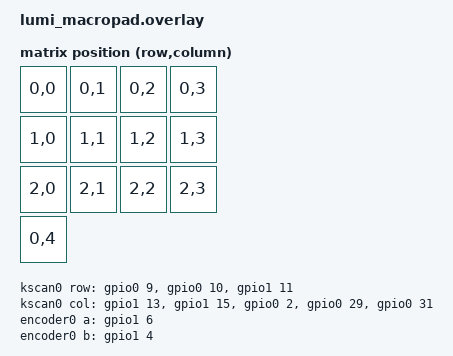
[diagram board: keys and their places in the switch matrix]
#include <zephyr/dt-bindings/gpio/gpio.h>
#include <dt-bindings/led/led.h>
#include <dt-bindings/zmk/matrix_transform.h>
#include "lumi_macropad-layouts.dtsi"

/ {
    kscan0: kscan0 {
        compatible = "zmk,kscan-gpio-matrix";
        diode-direction = "col2row";
        wakeup-source;

        // RYNOR ONE handwired 3x5 matrix:
        // ROW0 P0.09, ROW1 P0.10, ROW2 P1.11
        row-gpios
            = <&gpio0 9  (GPIO_ACTIVE_HIGH | GPIO_PULL_DOWN)>
            , <&gpio0 10 (GPIO_ACTIVE_HIGH | GPIO_PULL_DOWN)>
            , <&gpio1 11 (GPIO_ACTIVE_HIGH | GPIO_PULL_DOWN)>
            ;

        // COL0 P1.13, COL1 P1.15, COL2 P0.02, COL3 P0.29, COL4 P0.31
        col-gpios
            = <&gpio1 13 GPIO_ACTIVE_HIGH>
            , <&gpio1 15 GPIO_ACTIVE_HIGH>
            , <&gpio0 2  GPIO_ACTIVE_HIGH>
            , <&gpio0 29 GPIO_ACTIVE_HIGH>
            , <&gpio0 31 GPIO_ACTIVE_HIGH>
            ;
    };

    default_transform: keymap_transform0 {
        compatible = "zmk,matrix-transform";
        rows = <3>;
        columns = <5>;

        // Physical layout:
        // ROW0: K1 K2 K3 K4 EC11
        // ROW1: K5 K6 K7 K8
        // ROW2: K9 K10 K11 K12
        //
        // Keep key positions 0..11 as K1..K12 so existing keymaps,
        // combos, Studio mappings and LumiPad behavior stay unchanged.
        // Position 12 remains the EC11 push button.
        map = <
            RC(0,0) RC(0,1) RC(0,2) RC(0,3)
            RC(1,0) RC(1,1) RC(1,2) RC(1,3)
            RC(2,0) RC(2,1) RC(2,2) RC(2,3)
            RC(0,4)
        >;
    };

    encoder0: encoder0 {
        compatible = "alps,ec11";
        /* Physical EC11 A/B are wired opposite to the original mapping.
         * Swap the firmware phases so clockwise/counter-clockwise actions
         * match the expected direction without rewiring the encoder.
         */
        a-gpios = <&gpio1 6 (GPIO_ACTIVE_HIGH | GPIO_PULL_UP)>;
        b-gpios = <&gpio1 4 (GPIO_ACTIVE_HIGH | GPIO_PULL_UP)>;
        steps = <80>;
        status = "okay";
    };

    /* Dedicated System OFF wake inputs.
     *
     * Do not resume the complete matrix kscan while entering soft-off. Using
     * direct row level-sense inputs avoids scan/debounce latency and makes one
     * key press wake the nRF52840 immediately. For this col2row matrix all five
     * columns are driven HIGH while sleeping, and any row going HIGH wakes.
     *
     * EC11 A/B are passive contacts to GND, so both phases use direct
     * active-low level sensing. A single encoder transition can therefore wake
     * without waiting for the normal EC11 driver to start.
     */
    deep_wake_keys: deep_wake_keys {
        compatible = "gpio-keys";

        deep_wake_row0_key: deep_wake_row0_key {
            gpios = <&gpio0 9 (GPIO_ACTIVE_HIGH | GPIO_PULL_DOWN)>;
        };

        deep_wake_row1_key: deep_wake_row1_key {
            gpios = <&gpio0 10 (GPIO_ACTIVE_HIGH | GPIO_PULL_DOWN)>;
        };

        deep_wake_row2_key: deep_wake_row2_key {
            gpios = <&gpio1 11 (GPIO_ACTIVE_HIGH | GPIO_PULL_DOWN)>;
        };

        encoder_wake_a_key: encoder_wake_a_key {
            gpios = <&gpio1 6 (GPIO_ACTIVE_LOW | GPIO_PULL_UP)>;
        };

        encoder_wake_b_key: encoder_wake_b_key {
            gpios = <&gpio1 4 (GPIO_ACTIVE_LOW | GPIO_PULL_UP)>;
        };
    };

    deep_wake_row0: deep_wake_row0 {
        compatible = "zmk,gpio-key-wakeup-trigger";
        trigger = <&deep_wake_row0_key>;
        wakeup-source;
        extra-gpios =
            <&gpio1 13 GPIO_ACTIVE_HIGH>,
            <&gpio1 15 GPIO_ACTIVE_HIGH>,
            <&gpio0 2 GPIO_ACTIVE_HIGH>,
            <&gpio0 29 GPIO_ACTIVE_HIGH>,
            <&gpio0 31 GPIO_ACTIVE_HIGH>;
    };

    deep_wake_row1: deep_wake_row1 {
        compatible = "zmk,gpio-key-wakeup-trigger";
        trigger = <&deep_wake_row1_key>;
        wakeup-source;
        extra-gpios =
            <&gpio1 13 GPIO_ACTIVE_HIGH>,
            <&gpio1 15 GPIO_ACTIVE_HIGH>,
            <&gpio0 2 GPIO_ACTIVE_HIGH>,
            <&gpio0 29 GPIO_ACTIVE_HIGH>,
            <&gpio0 31 GPIO_ACTIVE_HIGH>;
    };

    deep_wake_row2: deep_wake_row2 {
        compatible = "zmk,gpio-key-wakeup-trigger";
        trigger = <&deep_wake_row2_key>;
        wakeup-source;
        extra-gpios =
            <&gpio1 13 GPIO_ACTIVE_HIGH>,
            <&gpio1 15 GPIO_ACTIVE_HIGH>,
            <&gpio0 2 GPIO_ACTIVE_HIGH>,
            <&gpio0 29 GPIO_ACTIVE_HIGH>,
            <&gpio0 31 GPIO_ACTIVE_HIGH>;
    };

    encoder_wake_a: encoder_wake_a {
        compatible = "zmk,gpio-key-wakeup-trigger";
        trigger = <&encoder_wake_a_key>;
        wakeup-source;
    };

    encoder_wake_b: encoder_wake_b {
        compatible = "zmk,gpio-key-wakeup-trigger";
        trigger = <&encoder_wake_b_key>;
        wakeup-source;
    };

    soft_off_wakers: soft_off_wakers {
        compatible = "zmk,soft-off-wakeup-sources";
        wakeup-sources =
            <&deep_wake_row0
             &deep_wake_row1
             &deep_wake_row2
             &encoder_wake_a
             &encoder_wake_b>;
    };

    sensors: sensors {
        compatible = "zmk,keymap-sensors";
        sensors = <&encoder0>;
        triggers-per-rotation = <20>;
    };

    chosen {
        zmk,kscan = &kscan0;
        zmk,physical-layout = &lumi_macropad_layout;
        zephyr,display = &lumi_tft;
        zmk,underglow = &led_strip;
    };
};

&pinctrl {
    lumi_tft_spi_default: lumi_tft_spi_default {
        group1 {
            psels = <NRF_PSEL(SPIM_SCK, 0, 20)>,
                    <NRF_PSEL(SPIM_MOSI, 0, 17)>;
        };
    };

    lumi_tft_spi_sleep: lumi_tft_spi_sleep {
        group1 {
            psels = <NRF_PSEL(SPIM_SCK, 0, 20)>,
                    <NRF_PSEL(SPIM_MOSI, 0, 17)>;
            low-power-enable;
        };
    };

    /* WS2812 transport uses the dedicated nRF I2S peripheral instead of
     * consuming another SPIM instance. Only SDOUT (P0.06 / D1) is wired to
     * the LED chain; SCK/LRCK are routed to otherwise-unused GPIOs.
     */
    lumi_rgb_i2s_default: lumi_rgb_i2s_default {
        group1 {
            psels = <NRF_PSEL(I2S_SCK_M, 0, 4)>,
                    <NRF_PSEL(I2S_LRCK_M, 0, 5)>,
                    <NRF_PSEL(I2S_SDOUT, 0, 6)>;
        };
    };

    lumi_rgb_i2s_sleep: lumi_rgb_i2s_sleep {
        group1 {
            psels = <NRF_PSEL(I2S_SCK_M, 0, 4)>,
                    <NRF_PSEL(I2S_LRCK_M, 0, 5)>,
                    <NRF_PSEL(I2S_SDOUT, 0, 6)>;
            low-power-enable;
        };
    };

    /* Dedicated external W25Q128 bus.
     * Completely separate from the ST7789 and WS2812 peripherals:
     *   SCK  P1.07
     *   MOSI P1.02
     *   MISO P1.01
     *   CS   P0.11
     */
    lumi_flash_spi_default: lumi_flash_spi_default {
        group1 {
            psels = <NRF_PSEL(SPIM_SCK, 1, 7)>,
                    <NRF_PSEL(SPIM_MOSI, 1, 2)>,
                    <NRF_PSEL(SPIM_MISO, 1, 1)>;
        };
    };

    lumi_flash_spi_sleep: lumi_flash_spi_sleep {
        group1 {
            psels = <NRF_PSEL(SPIM_SCK, 1, 7)>,
                    <NRF_PSEL(SPIM_MOSI, 1, 2)>,
                    <NRF_PSEL(SPIM_MISO, 1, 1)>;
            low-power-enable;
        };
    };
};

// ST7789 1.47 inch, physical panel 172x320, used in landscape as 320x172.
// Original Arduino wiring:
// MOSI P0.17, SCLK P0.20, CS P0.22, DC P0.24, RST P1.00.
// ZMK v0.3 uses Zephyr 3.5, whose ST7789 driver expects the display node
// directly below the SPI controller.
// Only SPIM3 on nRF52840 supports 32 MHz. SPIM1 silently clamps the
// requested 32 MHz to 8 MHz in Zephyr, stretching each RGB565 frame to
// at least 110 ms. Pin routing is independent of the peripheral instance.
&spi3 {
    compatible = "nordic,nrf-spim";
    status = "okay";
    pinctrl-0 = <&lumi_tft_spi_default>;
    pinctrl-1 = <&lumi_tft_spi_sleep>;
    pinctrl-names = "default", "sleep";
    cs-gpios = <&gpio0 22 GPIO_ACTIVE_LOW>;

    lumi_tft: st7789v@0 {
        compatible = "sitronix,st7789v";
        spi-max-frequency = <32000000>;
        reg = <0>;
        cmd-data-gpios = <&gpio0 24 GPIO_ACTIVE_LOW>;
        reset-gpios = <&gpio1 0 GPIO_ACTIVE_LOW>;
        width = <320>;
        height = <172>;
        x-offset = <0>;
        y-offset = <34>;
        vcom = <0x19>;
        gctrl = <0x35>;
        vrhs = <0x12>;
        vdvs = <0x20>;
        // Landscape orientation rotated 180 degrees from the previous build:
        // MY + MV. Keep BGR cleared so red/blue stay in the correct RGB order.
        mdac = <0xA0>;
        gamma = <0x01>;
        colmod = <0x05>;
        lcm = <0x2c>;
        porch-param = [0c 0c 00 33 33];
        cmd2en-param = [5a 69 02 01];
        pwctrl1-param = [a4 a1];
        pvgam-param = [D0 04 0D 11 13 2B 3F 54 4C 18 0D 0B 1F 23];
        nvgam-param = [D0 04 0C 11 13 2C 3F 44 51 2F 1F 1F 20 23];
        ram-param = [00 F0];
        rgb-param = [CD 08 14];
    };
};

/* External W25Q128JV (16 MiB / 128 Mbit) on a dedicated SPIM2 bus.
 *
 * Layout:
 *   0x000000..0x9FFFFF  10 MiB GIF/screensaver media
 *   0xA00000..0xBFFFFF   2 MiB icon/UI/animation assets
 *   0xC00000..0xFFFFFF   4 MiB reserve/cache/update staging
 *
 * Firmware still executes from the nRF52840 internal flash; this external
 * NOR is storage only.
 */
&spi2 {
    compatible = "nordic,nrf-spim";
    status = "okay";
    pinctrl-0 = <&lumi_flash_spi_default>;
    pinctrl-1 = <&lumi_flash_spi_sleep>;
    pinctrl-names = "default", "sleep";
    cs-gpios = <&gpio0 11 GPIO_ACTIVE_LOW>;

    lumi_ext_flash: w25q128@0 {
        compatible = "jedec,spi-nor";
        reg = <0>;
        spi-max-frequency = <8000000>;
        /* 128 Mbit / 16 MiB. SFDP is read at runtime so compatible
         * W25Q128/GD25Q128-class parts can be used on this module.
         */
        size = <134217728>;
        has-dpd;
        t-enter-dpd = <3000>;
        t-exit-dpd = <30000>;
        status = "okay";

        partitions {
            compatible = "fixed-partitions";
            #address-cells = <1>;
            #size-cells = <1>;

            lumi_saver_partition: partition@0 {
                label = "lumi-gif";
                reg = <0x000000 0xA00000>;
            };

            lumi_assets_partition: partition@a00000 {
                label = "lumi-assets";
                reg = <0xA00000 0x200000>;
            };

            lumi_reserve_partition: partition@c00000 {
                label = "lumi-reserve";
                reg = <0xC00000 0x400000>;
            };
        };
    };
};

// Six WS2812B LEDs on P0.06 / D1.
// Use nRF52840 I2S to generate the 800 kHz waveform. This keeps RGB fully
// independent of TFT SPIM3 and external-flash SPIM2, and avoids the SPIM1/0
// regression that left the physical strip latched white.
&i2s0 {
    status = "okay";
    pinctrl-0 = <&lumi_rgb_i2s_default>;
    pinctrl-1 = <&lumi_rgb_i2s_sleep>;
    pinctrl-names = "default", "sleep";
};

/ {
    led_strip: ws2812 {
        compatible = "worldsemi,ws2812-i2s";
        status = "okay";
        i2s-dev = <&i2s0>;
        chain-length = <6>;
        reset-delay = <50>;
        color-mapping = <LED_COLOR_ID_GREEN
                         LED_COLOR_ID_RED
                         LED_COLOR_ID_BLUE>;
    };
};

&lumi_macropad_layout {
    kscan = <&kscan0>;
    transform = <&default_transform>;
};


/* Dedicated USB serial port for LumiPad PC app.
 * ZMK Studio keeps using its own CDC ACM interface.
 */
&zephyr_udc0 {
    lumi_app_uart: lumi_app_uart {
        compatible = "zephyr,cdc-acm-uart";
    };
};


/* External W25Q128 now owns all media storage. Restore the full original
 * nice!nano application partition (0x26000..0xEC000) to firmware. The
 * nRF52840's internal 1 MiB remains dedicated to SoftDevice/firmware/NVS/
 * bootloader according to the board partition map.
 */
&code_partition {
    reg = <0x26000 0xC6000>;
};


/* ST7789 backlight control (BLK) on P0.08.
 * P0.08 is unused by the matrix, encoder, TFT SPI/control and WS2812 buses.
 * Keep BLK LOW during Zephyr startup so the panel stays dark until LVGL has
 * drawn the boot splash.
 */
&gpio0 {
    lumi_panel_backlight_hog {
        gpio-hog;
        gpios = <8 GPIO_ACTIVE_HIGH>;
        output-low;
        line-name = "lumi-tft-backlight";
    };
};
